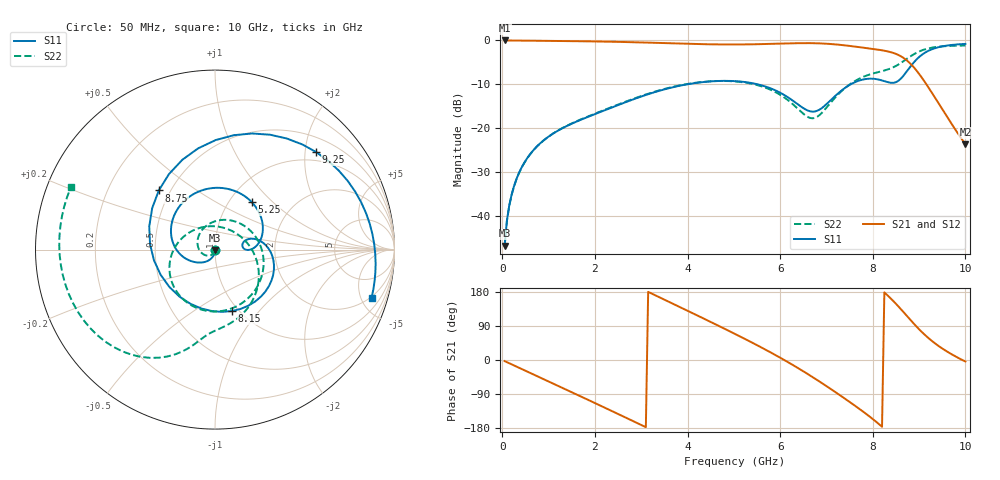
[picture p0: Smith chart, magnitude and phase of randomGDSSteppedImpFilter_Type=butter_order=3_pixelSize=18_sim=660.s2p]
! freq	dB(S11)	phase(S11)	dB(S12)	phase(S12)
!  dB(S21)	phase(S21)	dB(S22)	phase(S22)
!S-par simulation data
#  GHz  S  DB  R 50
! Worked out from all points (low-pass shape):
!   200 points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, 50 MHz to 10 GHz, reference 50 ohm
!   highest |S21| = 0.00 dB at 50 MHz (marker M1); lowest = -23.7 dB at 10 GHz (marker M2)
!   |S21| within 3 dB of the highest: start of sweep to 8.483 GHz
!   lowest |S11| = -46.9 dB at 50 MHz (marker M3), VSWR 1.01, Z = 50 - j0.453 ohm
!   |S11| at or under -10 dB: start of sweep to 3.999 GHz; 5.507 GHz to 7.527 GHz (2.02 GHz wide, 31 % of centre)
!   |S22| runs from -47.0 to -1.2 dB; largest |S21 - S12| = 0
!   S11 on the Smith chart (normalised r, x): 50 MHz: 1.00, -0.01; 5.25 GHz: 1.26, +0.75; 8.15 GHz: 0.94, -0.73; 8.75 GHz: 0.43, +0.36; 9.25 GHz: 0.80, +2.23; 10 GHz: 1.91, -6.10
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0.05  -46.88 -88.0  -0.00 -2.9  -0.00 -2.9  -46.96 -91.0
0.2  -35.27 -96.0  -0.02 -11.4  -0.02 -11.4  -35.33 -104.3
0.5  -27.48 -108.0  -0.05 -28.4  -0.05 -28.4  -27.53 -129.2
1.15  -20.91 -129.8  -0.11 -65.1  -0.11 -65.1  -20.89 177.6
1.75  -17.87 -146.5  -0.19 -99.3  -0.19 -99.3  -17.78 125.9
2.65  -14.14 -172.5  -0.36 -151.1  -0.36 -151.1  -14.03 48.7
3.4  -11.46 156.6  -0.58 165.2  -0.58 165.2  -11.36 -7.3
4.25  -9.61 111.9  -0.83 115.2  -0.83 115.2  -9.56 -61.6
5.05  -9.31 64.5  -0.92 67.3  -0.92 67.3  -9.38 -109.0
5.25  -9.51 52.3  -0.91 54.9  -0.91 54.9  -9.63 -121.2
6.05  -12.22 8.2  -0.71 2.7  -0.71 2.7  -12.73 -179.7
6.7  -16.26 7.4  -0.63 -45.1  -0.63 -45.1  -17.77 81.0
7.05  -14.05 17.4  -0.78 -73.0  -0.78 -73.0  -14.70 11.2
7.4  -10.84 4.2  -1.12 -102.1  -1.12 -102.1  -10.86 -31.4
7.8  -8.90 -28.9  -1.66 -137.0  -1.66 -137.0  -8.28 -65.1
8.15  -8.99 -74.3  -2.17 -170.9  -2.17 -170.9  -7.14 -86.1
8.35  -9.59 -114.6  -2.57 167.0  -2.57 167.0  -6.53 -94.4
8.75  -6.85 133.5  -4.69 114.5  -4.69 114.5  -4.09 -110.8
9  -3.79 80.6  -7.63 81.1  -7.63 81.1  -2.53 -128.3
9.25  -2.13 44.0  -11.50 52.9  -11.50 52.9  -1.70 -148.0
9.6  -1.17 9.5  -17.36 22.6  -17.36 22.6  -1.28 -174.3
10  -0.79 -17.0  -23.68 -3.9  -23.68 -3.9  -1.16 156.7
